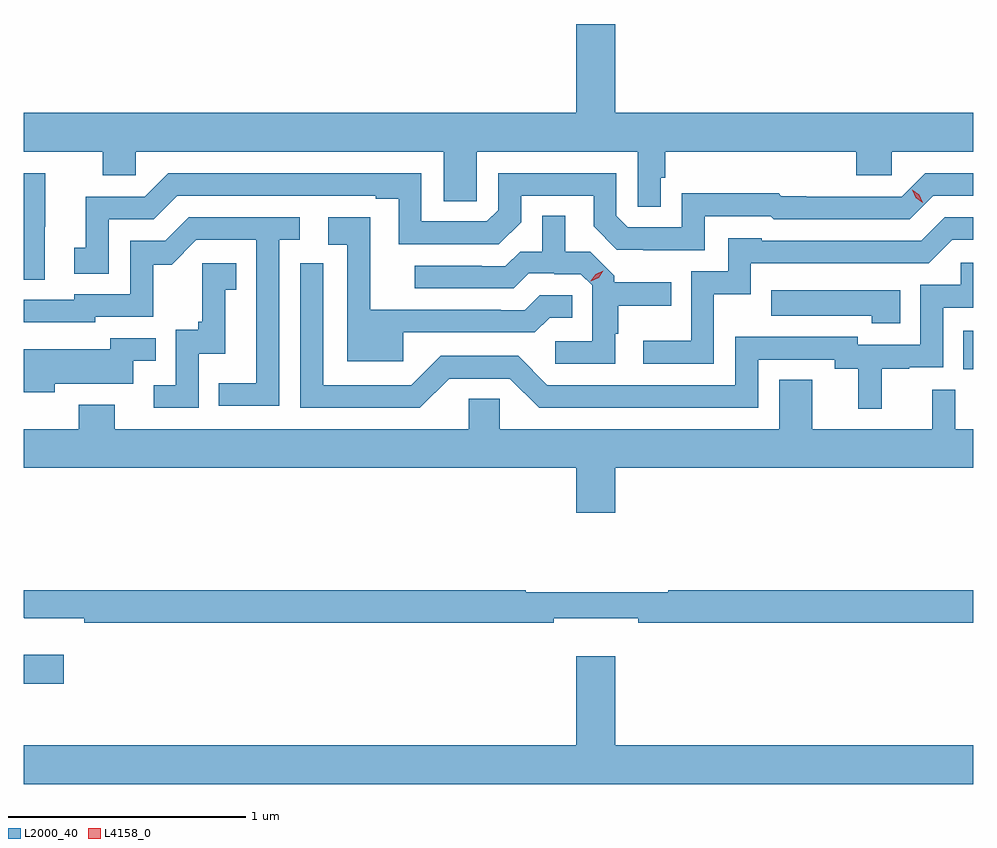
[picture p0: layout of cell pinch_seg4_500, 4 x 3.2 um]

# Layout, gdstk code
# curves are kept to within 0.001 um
import gdstk
lib = gdstk.Library(unit=1e-6, precision=1e-09)
def R(c, l, rs):  # rectangles x0, y0, x1, y1
    for r in rs: c.add(gdstk.rectangle(r[:2], r[2:], *l))
def P(c, l, *ps):  # polygons
    for p in ps: c.add(gdstk.Polygon(p, *l))
L2000_40 = (2000, 40)
L4158_0 = (4158, 0)

pinch_seg4_500 = lib.new_cell('pinch_seg4_500')
R(pinch_seg4_500, L2000_40, [(1001.84,754.619,1002.007,754.741), (1005.799,755.945,1005.84,756.106)])
P(pinch_seg4_500, L2000_40, [(1004.523,756.75),(1004.543,756.75),(1004.543,756.86),(1005.347,756.86),(1005.347,756.762),(1005.498,756.762),(1005.498,756.86),(1005.84,756.86),(1005.84,757.024),(1004.332,757.024),(1004.332,757.399),(1004.168,757.399),(1004.168,757.024),(1001.84,757.024),(1001.84,756.86),(1002.173,756.86),(1002.173,756.762),(1002.312,756.762),(1002.312,756.86),(1003.61,756.86),(1003.61,756.652),(1003.749,756.652),(1003.749,756.86),(1004.427,756.86),(1004.427,756.628),(1004.523,756.628)],
  [(1002.198,756.576),(1002.387,756.576),(1002.486,756.675),(1003.322,756.675),(1003.322,756.663),(1003.419,756.663),(1003.419,756.471),(1003.842,756.471),(1003.935,756.564),(1003.935,756.675),(1004.241,756.675),(1004.241,756.546),(1004.339,756.448),(1004.449,756.448),(1004.449,756.446),(1004.709,756.446),(1004.709,756.588),(1004.988,756.588),(1005,756.576),(1005.573,756.576),(1005.672,756.675),(1005.84,756.675),(1005.84,756.771),(1005.639,756.771),(1005.54,756.672),(1005.032,756.673),(1005.021,756.685),(1004.613,756.685),(1004.613,756.543),(1004.385,756.543),(1004.337,756.591),(1004.337,756.771),(1003.839,756.771),(1003.839,756.615),(1003.791,756.567),(1003.515,756.567),(1003.515,756.771),(1002.449,756.771),(1002.35,756.672),(1002.101,756.672),(1002.101,756.457),(1002.051,756.457),(1002.051,756.346),(1002.198,756.346)],
  [(1001.928,756.544),(1001.929,756.544),(1001.929,756.771),(1001.84,756.771),(1001.84,756.322),(1001.928,756.322)],
  [(1004.331,756.093),(1004.344,756.093),(1004.344,756.212),(1004.567,756.212),(1004.567,756.31),(1004.328,756.31),(1004.328,756.339),(1004.227,756.44),(1004.121,756.44),(1004.121,756.59),(1004.025,756.59),(1004.025,756.44),(1003.931,756.44),(1003.869,756.378),(1003.769,756.378),(1003.769,756.381),(1003.488,756.381),(1003.488,756.285),(1003.905,756.285),(1003.968,756.348),(1004.076,756.348),(1004.076,756.345),(1004.187,756.345),(1004.235,756.297),(1004.235,756.063),(1004.079,756.063),(1004.079,755.967),(1004.331,755.967)],
  [(1003.438,756.099),(1003.992,756.099),(1004.055,756.162),(1004.15,756.162),(1004.15,756.255),(1004.013,756.255),(1003.95,756.192),(1003.85,756.192),(1003.85,756.195),(1003.299,756.195),(1003.299,756.585),(1003.122,756.585),(1003.122,756.469),(1003.203,756.469),(1003.203,755.978),(1003.438,755.978)],
  [(1002.915,756.489),(1003.003,756.489),(1003.003,756.585),(1002.534,756.585),(1002.435,756.486),(1002.288,756.486),(1002.288,756.261),(1002.051,756.261),(1002.051,756.237),(1001.84,756.237),(1001.84,756.141),(1002.141,756.141),(1002.141,756.165),(1002.386,756.165),(1002.386,756.385),(1002.463,756.385),(1002.567,756.489),(1002.819,756.489),(1002.818,755.886),(1002.661,755.886),(1002.661,755.79),(1002.915,755.79)],
  [(1004.748,756.26),(1004.904,756.26),(1004.904,756.39),(1005.654,756.39),(1005.753,756.489),(1005.84,756.489),(1005.84,756.585),(1005.72,756.585),(1005.621,756.486),(1004.949,756.486),(1004.949,756.496),(1004.808,756.496),(1004.808,756.357),(1004.652,756.357),(1004.652,756.064),(1004.451,756.064),(1004.451,755.967),(1004.748,755.967)],
  [(1005.455,755.947),(1005.572,755.947),(1005.572,755.952),(1005.714,755.952),(1005.714,756.204),(1005.84,756.204),(1005.84,756.393),(1005.789,756.393),(1005.789,756.3),(1005.618,756.3),(1005.618,756.048),(1005.354,756.048),(1005.354,756.081),(1004.838,756.081),(1004.838,755.877),(1004.046,755.877),(1003.923,756),(1003.596,756),(1003.473,755.877),(1003.101,755.877),(1003.101,756.391),(1003.005,756.391),(1003.005,755.781),(1003.509,755.781),(1003.632,755.904),(1003.888,755.904),(1004.011,755.781),(1004.934,755.781),(1004.934,755.985),(1005.258,755.985),(1005.258,755.947),(1005.356,755.947),(1005.356,755.777),(1005.455,755.777)],
  [(1002.576,756.009),(1002.688,756.009),(1002.688,756.278),(1002.734,756.278),(1002.734,756.391),(1002.592,756.391),(1002.592,756.144),(1002.574,756.144),(1002.574,756.11),(1002.48,756.11),(1002.48,755.877),(1002.387,755.877),(1002.387,755.781),(1002.576,755.781)],
  [(1005.533,756.277),(1004.989,756.277),(1004.989,756.17),(1005.413,756.17),(1005.413,756.137),(1005.533,756.137)],
  [(1001.97,755.882),(1002.3,755.882),(1002.3,755.979),(1002.395,755.979),(1002.395,756.075),(1002.204,756.075),(1002.204,756.028),(1001.84,756.028),(1001.84,755.846),(1001.97,755.846)],
  [(1004.332,755.528),(1005.84,755.528),(1005.84,755.692),(1005.765,755.692),(1005.765,755.857),(1005.668,755.857),(1005.668,755.692),(1005.163,755.692),(1005.163,755.9),(1005.023,755.9),(1005.023,755.692),(1003.845,755.692),(1003.845,755.819),(1003.715,755.819),(1003.715,755.692),(1002.223,755.692),(1002.223,755.794),(1002.071,755.794),(1002.071,755.692),(1001.84,755.692),(1001.84,755.528),(1004.168,755.528),(1004.168,755.34),(1004.332,755.34)],
  [(1004.072,754.895),(1004.428,754.895),(1004.428,754.876),(1005.84,754.876),(1005.84,755.012),(1004.555,755.012),(1004.555,755.005),(1003.955,755.005),(1003.955,755.012),(1001.84,755.012),(1001.84,754.896),(1001.842,754.896),(1001.842,754.895),(1002.094,754.895),(1002.094,754.876),(1004.072,754.876)],
  [(1005.84,754.36),(1004.332,754.36),(1004.332,754.735),(1004.168,754.735),(1004.168,754.36),(1001.84,754.36),(1001.84,754.196),(1005.84,754.196)])
P(pinch_seg4_500, L4158_0, [(1004.229,756.315),(1004.229,756.316),(1004.249,756.345),(1004.282,756.359),(1004.282,756.359),(1004.282,756.359),(1004.262,756.33),(1004.229,756.315)],
  [(1005.628,756.646),(1005.598,756.667),(1005.583,756.7),(1005.583,756.7),(1005.584,756.7),(1005.614,756.68),(1005.629,756.646),(1005.629,756.646)])

lib.write_gds('pinch_seg4_500.gds')
